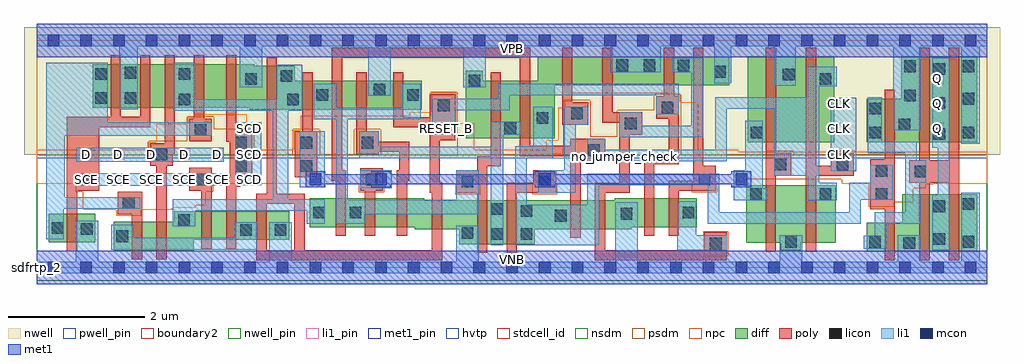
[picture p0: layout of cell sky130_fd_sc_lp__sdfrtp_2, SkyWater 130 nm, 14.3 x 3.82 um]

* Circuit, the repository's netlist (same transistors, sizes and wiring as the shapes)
* Copyright 2020 The SkyWater PDK Authors
*
* Licensed under the Apache License, Version 2.0 (the "License");
* you may not use this file except in compliance with the License.
* You may obtain a copy of the License at
*
*     https://www.apache.org/licenses/LICENSE-2.0
*
* Unless required by applicable law or agreed to in writing, software
* distributed under the License is distributed on an "AS IS" BASIS,
* WITHOUT WARRANTIES OR CONDITIONS OF ANY KIND, either express or implied.
* See the License for the specific language governing permissions and
* limitations under the License.
*
* SPDX-License-Identifier: Apache-2.0

.SUBCKT sky130_fd_sc_lp__sdfrtp_2 CLK D RESET_B SCD SCE VGND VNB VPB VPWR Q
*.PININFO CLK:I D:I RESET_B:I SCD:I SCE:I VGND:I VNB:I VPB:I VPWR:I
*.PININFO Q:O
MI642 clkneg CLK VGND VNB sky130_fd_pr__nfet_01v8 m=1 w=0.84U l=0.15U mult=1 sa=0.265
+ sb=0.265 sd=0.28 area=0.063 perim=1.14
MI636 clkpos clkneg VGND VNB sky130_fd_pr__nfet_01v8 m=1 w=0.84U l=0.15U mult=1
+ sa=0.265 sb=0.265 sd=0.28 area=0.063 perim=1.14
MI42 db clkneg M0 VNB sky130_fd_pr__nfet_01v8 m=1 w=0.42U l=0.15U mult=1 sa=0.265
+ sb=0.265 sd=0.28 area=0.063 perim=1.14
MI656 net062 s0 net048 VNB sky130_fd_pr__nfet_01v8 m=1 w=0.42U l=0.15U mult=1 sa=0.265
+ sb=0.265 sd=0.28 area=0.063 perim=1.14
MI657 net048 RESET_B VGND VNB sky130_fd_pr__nfet_01v8 m=1 w=0.42U l=0.15U mult=1
+ sa=0.265 sb=0.265 sd=0.28 area=0.063 perim=1.14
MI33 net069 RESET_B VGND VNB sky130_fd_pr__nfet_01v8 m=1 w=0.42U l=0.15U mult=1
+ sa=0.265 sb=0.265 sd=0.28 area=0.063 perim=1.14
MI634 sceb SCE VGND VNB sky130_fd_pr__nfet_01v8 m=1 w=0.42U l=0.15U mult=1 sa=0.265
+ sb=0.265 sd=0.28 area=0.063 perim=1.14
MI4 M0 clkpos net077 VNB sky130_fd_pr__nfet_01v8 m=1 w=0.42U l=0.15U mult=1 sa=0.265
+ sb=0.265 sd=0.28 area=0.063 perim=1.14
MI34 net077 M1 net069 VNB sky130_fd_pr__nfet_01v8 m=1 w=0.42U l=0.15U mult=1 sa=0.265
+ sb=0.265 sd=0.28 area=0.063 perim=1.14
MI655 s0 clkneg net061 VNB sky130_fd_pr__nfet_01v8 m=1 w=0.42U l=0.15U mult=1 sa=0.265
+ sb=0.265 sd=0.28 area=0.063 perim=1.14
MI652 net041 s0 VGND VNB sky130_fd_pr__nfet_01v8 m=1 w=0.42U l=0.15U mult=1 sa=0.265
+ sb=0.265 sd=0.28 area=0.063 perim=1.14
MI653 Q net041 VGND VNB sky130_fd_pr__nfet_01v8 m=2 w=0.84U l=0.15U mult=1 sa=0.265
+ sb=0.265 sd=0.28 area=0.063 perim=1.14
MI654 net061 net062 VGND VNB sky130_fd_pr__nfet_01v8 m=1 w=0.42U l=0.15U mult=1
+ sa=0.265 sb=0.265 sd=0.28 area=0.063 perim=1.14
MI647 M1 M0 VGND VNB sky130_fd_pr__nfet_01v8 m=1 w=0.64U l=0.15U mult=1 sa=0.265
+ sb=0.265 sd=0.28 area=0.063 perim=1.14
MI649 M1 clkpos s0 VNB sky130_fd_pr__nfet_01v8 m=1 w=0.64U l=0.15U mult=1 sa=0.265
+ sb=0.265 sd=0.28 area=0.063 perim=1.14
MI666 net84 RESET_B VGND VNB sky130_fd_pr__nfet_01v8 m=1 w=0.42U l=0.15U mult=1
+ sa=0.265 sb=0.265 sd=0.28 area=0.525 perim=3.1
MI98 db D n0 VNB sky130_fd_pr__nfet_01v8 m=1 w=0.42U l=0.15U mult=1 sa=0.265 sb=0.265
+ sd=0.28 area=0.525 perim=3.1
MI103 n1 SCD net84 VNB sky130_fd_pr__nfet_01v8 m=1 w=0.42U l=0.15U mult=1 sa=0.265
+ sb=0.265 sd=0.28 area=0.525 perim=3.1
MI120 db SCE n1 VNB sky130_fd_pr__nfet_01v8 m=1 w=0.42U l=0.15U mult=1 sa=0.265
+ sb=0.265 sd=0.28 area=0.525 perim=3.1
MI104 n0 sceb net84 VNB sky130_fd_pr__nfet_01v8 m=1 w=0.42U l=0.15U mult=1 sa=0.265
+ sb=0.265 sd=0.28 area=0.525 perim=3.1
MI643 clkneg CLK VPWR VPB sky130_fd_pr__pfet_01v8_hvt m=1 w=1.26U l=0.15U mult=1
+ sa=0.265 sb=0.265 sd=0.28 area=0.063 perim=1.14
MI635 clkpos clkneg VPWR VPB sky130_fd_pr__pfet_01v8_hvt m=1 w=1.26U l=0.15U mult=1
+ sa=0.265 sb=0.265 sd=0.28 area=0.063 perim=1.14
MI43 db clkpos M0 VPB sky130_fd_pr__pfet_01v8_hvt m=1 w=0.42U l=0.15U mult=1 sa=0.265
+ sb=0.265 sd=0.28 area=0.063 perim=1.14
MI662 net0133 net062 VPWR VPB sky130_fd_pr__pfet_01v8_hvt m=1 w=0.42U l=0.15U mult=1
+ sa=0.265 sb=0.265 sd=0.28 area=0.063 perim=1.14
MI659 net062 RESET_B VPWR VPB sky130_fd_pr__pfet_01v8_hvt m=1 w=0.42U l=0.15U mult=1
+ sa=0.265 sb=0.265 sd=0.28 area=0.063 perim=1.14
MI664 s0 clkpos net0133 VPB sky130_fd_pr__pfet_01v8_hvt m=1 w=0.42U l=0.15U mult=1
+ sa=0.265 sb=0.265 sd=0.28 area=0.063 perim=1.14
MI658 net062 s0 VPWR VPB sky130_fd_pr__pfet_01v8_hvt m=1 w=0.42U l=0.15U mult=1
+ sa=0.265 sb=0.265 sd=0.28 area=0.063 perim=1.14
MI30 net0156 M1 VPWR VPB sky130_fd_pr__pfet_01v8_hvt m=1 w=0.42U l=0.15U mult=1
+ sa=0.265 sb=0.265 sd=0.28 area=0.063 perim=1.14
MI31 M0 clkneg net0156 VPB sky130_fd_pr__pfet_01v8_hvt m=1 w=0.42U l=0.15U mult=1
+ sa=0.265 sb=0.265 sd=0.28 area=0.063 perim=1.14
MI32 M0 RESET_B VPWR VPB sky130_fd_pr__pfet_01v8_hvt m=1 w=0.42U l=0.15U mult=1
+ sa=0.265 sb=0.265 sd=0.28 area=0.063 perim=1.14
MI663 net041 s0 VPWR VPB sky130_fd_pr__pfet_01v8_hvt m=1 w=0.64U l=0.15U mult=1
+ sa=0.265 sb=0.265 sd=0.28 area=0.063 perim=1.14
MI660 Q net041 VPWR VPB sky130_fd_pr__pfet_01v8_hvt m=2 w=1.26U l=0.15U mult=1
+ sa=0.265 sb=0.265 sd=0.28 area=0.063 perim=1.14
MI648 M1 M0 VPWR VPB sky130_fd_pr__pfet_01v8_hvt m=1 w=0.84U l=0.15U mult=1 sa=0.265
+ sb=0.265 sd=0.28 area=0.063 perim=1.14
MI650 M1 clkneg s0 VPB sky130_fd_pr__pfet_01v8_hvt m=1 w=0.84U l=0.15U mult=1 sa=0.265
+ sb=0.265 sd=0.28 area=0.063 perim=1.14
MI633 sceb SCE VPWR VPB sky130_fd_pr__pfet_01v8_hvt m=1 w=0.64U l=0.15U mult=1
+ sa=0.265 sb=0.265 sd=0.28 area=0.063 perim=1.14
MI101 db sceb p1 VPB sky130_fd_pr__pfet_01v8_hvt m=1 w=0.64U l=0.15U mult=1 sa=0.265
+ sb=0.265 sd=0.28 area=0.063 perim=1.14
MI107 p0 SCE VPWR VPB sky130_fd_pr__pfet_01v8_hvt m=1 w=0.64U l=0.15U mult=1 sa=0.265
+ sb=0.265 sd=0.28 area=0.063 perim=1.14
MI94 db D p0 VPB sky130_fd_pr__pfet_01v8_hvt m=1 w=0.64U l=0.15U mult=1 sa=0.265
+ sb=0.265 sd=0.28 area=0.063 perim=1.14
MI108 p1 SCD VPWR VPB sky130_fd_pr__pfet_01v8_hvt m=1 w=0.64U l=0.15U mult=1 sa=0.265
+ sb=0.265 sd=0.28 area=0.063 perim=1.14
MI665 db RESET_B VPWR VPB sky130_fd_pr__pfet_01v8_hvt m=1 w=0.64U l=0.15U mult=1
+ sa=0.265 sb=0.265 sd=0.28 area=0.063 perim=1.14
.ENDS sky130_fd_sc_lp__sdfrtp_2

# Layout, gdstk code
import gdstk
lib = gdstk.Library(unit=1e-6, precision=1e-09)
def R(c, l, rs):  # rectangles x0, y0, x1, y1
    for r in rs: c.add(gdstk.rectangle(r[:2], r[2:], *l))
def A(c, l, x, y, w, h, nx, ny, dx, dy):  # array of equal rectangles
    R(c, l, [(x+i*dx, y+j*dy, x+i*dx+w, y+j*dy+h) for i in range(nx) for j in range(ny)])
def P(c, l, *ps):  # polygons
    for p in ps: c.add(gdstk.Polygon(p, *l))
nwell_pin = (64, 16)
nwell = (64, 20)
diff = (65, 20)
poly = (66, 20)
licon = (66, 44)
li1_pin = (67, 16)
li1 = (67, 20)
mcon = (67, 44)
met1_pin = (68, 16)
met1 = (68, 20)
hvtp = (78, 44)
stdcell_id = (81, 4)
nsdm = (93, 44)
psdm = (94, 20)
npc = (95, 20)
pwell_pin = (122, 16)
boundary2 = (236, 0)

sky130_fd_sc_lp__sdfrtp_ = lib.new_cell('sky130_fd_sc_lp__sdfrtp_2')
R(sky130_fd_sc_lp__sdfrtp_, nwell_pin, [(0,3.085,13.92,3.33)])
R(sky130_fd_sc_lp__sdfrtp_, nwell, [(-0.19,1.655,14.11,3.52)])
R(sky130_fd_sc_lp__sdfrtp_, diff, [(0.175,0.37,0.855,0.79), (10.415,1.835,11.68,3.095)])
P(sky130_fd_sc_lp__sdfrtp_, diff, [(3.695,0.825),(2.01,0.825),(2.01,0.67),(1.125,0.67),(1.125,0.25),(2.3,0.25),(2.3,0.405),(3.695,0.405)],
  [(5.635,2.735),(3.78,2.735),(3.78,2.955),(3.185,2.955),(3.185,2.98),(0.815,2.98),(0.815,2.34),(3.115,2.34),(3.115,2.315),(5.635,2.315)],
  [(9.67,1.015),(8.465,1.015),(8.465,0.985),(5.675,0.985),(5.675,1.015),(3.995,1.015),(3.995,0.595),(5.535,0.595),(5.535,0.565),(6.185,0.565),(6.185,0.345),(7.295,0.345),(7.295,0.565),(8.715,0.565),(8.715,0.595),(9.67,0.595)],
  [(10.145,3.09),(7.335,3.09),(7.335,2.735),(6.535,2.735),(6.535,2.885),(6.285,2.885),(6.285,1.895),(7.585,1.895),(7.585,2.67),(10.145,2.67)],
  [(11.7,1.205),(10.39,1.205),(10.39,0.365),(10.9,0.365),(10.9,0.255),(11.19,0.255),(11.19,0.365),(11.7,0.365)],
  [(13.775,3.095),(12.665,3.095),(12.665,2.475),(12.155,2.475),(12.155,1.835),(13.775,1.835)],
  [(13.775,1.075),(12.68,1.075),(12.68,0.655),(12.155,0.655),(12.155,0.235),(13.775,0.235)])
P(sky130_fd_sc_lp__sdfrtp_, poly, [(1.54,1.11),(1.18,1.11),(1.18,0.78),(1.39,0.78),(1.39,0.12),(1.54,0.12)],
  [(1.66,3.11),(1.51,3.11),(1.51,2.21),(1.23,2.21),(1.23,3.11),(1.08,3.11),(1.08,2.21),(0.44,2.21),(0.44,0.24),(0.59,0.24),(0.59,1.13),(0.915,1.13),(0.915,2.06),(1.66,2.06)],
  [(2.02,3.11),(1.87,3.11),(1.87,1.82),(1.66,1.82),(1.66,1.49),(1.75,1.49),(1.75,0.12),(1.9,0.12),(1.9,1.49),(1.99,1.49),(1.99,1.67),(2.02,1.67)],
  [(2.56,2.18),(2.45,2.18),(2.45,3.11),(2.3,3.11),(2.3,2.18),(2.23,2.18),(2.23,1.85),(2.56,1.85)],
  [(2.56,1.46),(2.23,1.46),(2.23,1.13),(2.41,1.13),(2.41,0.275),(2.56,0.275)],
  [(3.155,1.995),(2.92,1.995),(2.92,3.11),(2.77,3.11),(2.77,1.845),(2.825,1.845),(2.825,1.335),(2.77,1.335),(2.77,0.275),(2.92,0.275),(2.92,1.185),(2.975,1.185),(2.975,1.325),(3.155,1.325)],
  [(4.11,1.995),(4.04,1.995),(4.04,2.865),(3.89,2.865),(3.89,1.995),(3.78,1.995),(3.78,1.325),(4.11,1.325)],
  [(5.065,1.455),(4.735,1.455),(4.735,1.125),(4.805,1.125),(4.805,0.465),(4.955,0.465),(4.955,1.125),(5.065,1.125)],
  [(5.455,1.845),(5.01,1.845),(5.01,1.995),(4.83,1.995),(4.83,2.865),(4.68,2.865),(4.68,1.665),(5.01,1.665),(5.01,1.695),(5.305,1.695),(5.305,1.425),(5.275,1.425),(5.275,0.465),(5.425,0.465),(5.425,1.275),(5.455,1.275)],
  [(6.125,2.54),(5.755,2.54),(5.755,2.205),(5.37,2.205),(5.37,2.865),(5.22,2.865),(5.22,2.055),(5.755,2.055),(5.755,1.095),(5.785,1.095),(5.785,0.255),(3.92,0.255),(3.92,1.085),(3.77,1.085),(3.77,0.255),(3.365,0.255),(3.365,0.935),(3.77,0.935),(3.77,1.085),(3.515,1.085),(3.515,3.085),(3.365,3.085),(3.365,1.085),(3.215,1.085),(3.215,0.105),(5.935,0.105),(5.935,1.245),(5.905,1.245),(5.905,1.87),(6.125,1.87)],
  [(6.795,2.865),(6.645,2.865),(6.645,1.635),(6.45,1.635),(6.45,1.425),(6.145,1.425),(6.145,1.095),(6.45,1.095),(6.45,0.215),(6.6,0.215),(6.6,1.485),(6.795,1.485)],
  [(7.605,1.425),(7.275,1.425),(7.275,1.245),(6.88,1.245),(6.88,0.215),(7.03,0.215),(7.03,1.095),(7.605,1.095)],
  [(8.075,2.425),(7.845,2.425),(7.845,3.22),(7.695,3.22),(7.695,2.095),(8.075,2.095)],
  [(8.325,1.885),(7.815,1.885),(7.815,1.785),(7.225,1.785),(7.225,3.225),(4.32,3.225),(4.32,1.275),(4.375,1.275),(4.375,0.465),(4.525,0.465),(4.525,1.425),(4.47,1.425),(4.47,3.075),(7.075,3.075),(7.075,1.635),(7.815,1.635),(7.815,0.435),(7.965,0.435),(7.965,1.555),(8.325,1.555)],
  [(9.405,2.51),(9.335,2.51),(9.335,3.22),(9.185,3.22),(9.185,2.51),(9.075,2.51),(9.075,2.18),(9.255,2.18),(9.255,1.665),(8.895,1.665),(8.895,0.465),(9.045,0.465),(9.045,1.515),(9.405,1.515)],
  [(9.945,1.495),(9.765,1.495),(9.765,3.22),(9.615,3.22),(9.615,1.275),(9.255,1.275),(9.255,0.465),(9.405,0.465),(9.405,1.125),(9.945,1.125)],
  [(10.11,0.515),(9.78,0.515),(9.78,0.255),(8.325,0.255),(8.325,1.095),(8.685,1.095),(8.685,1.945),(8.865,1.945),(8.865,2.275),(8.435,2.275),(8.435,3.22),(8.285,3.22),(8.285,2.125),(8.535,2.125),(8.535,1.245),(8.175,1.245),(8.175,0.105),(10.11,0.105)],
  [(11.055,1.675),(10.83,1.675),(10.83,3.225),(10.68,3.225),(10.68,1.675),(10.675,1.675),(10.675,0.235),(10.825,0.235),(10.825,1.345),(11.055,1.345)],
  [(11.97,1.675),(11.64,1.675),(11.64,1.495),(11.415,1.495),(11.415,3.225),(11.265,3.225),(11.265,0.235),(11.415,0.235),(11.415,1.345),(11.97,1.345)],
  [(12.57,2.605),(12.42,2.605),(12.42,1.585),(12.21,1.585),(12.21,0.855),(12.42,0.855),(12.42,0.105),(12.57,0.105)],
  [(13.51,3.225),(13.36,3.225),(13.36,1.575),(13.08,1.575),(13.08,3.225),(12.93,3.225),(12.93,1.575),(12.78,1.575),(12.78,1.245),(12.93,1.245),(12.93,0.105),(13.08,0.105),(13.08,1.245),(13.36,1.245),(13.36,0.105),(13.51,0.105)])
R(sky130_fd_sc_lp__sdfrtp_, licon, [(9.86,0.265,10.03,0.435), (12.695,0.275,12.865,0.445), (10.96,0.295,11.13,0.465), (12.195,0.295,12.365,0.465), (13.565,0.295,13.735,0.465), (13.135,0.335,13.305,0.505), (1.165,0.375,1.335,0.545), (6.655,0.405,6.825,0.575), (7.085,0.405,7.255,0.575), (6.225,0.425,6.395,0.595), (2.975,0.465,3.145,0.635), (3.485,0.465,3.655,0.635), (0.645,0.48,0.815,0.65), (0.215,0.495,0.385,0.665), (2.07,0.615,2.24,0.785), (7.59,0.675,7.76,0.845), (8.55,0.705,8.72,0.875), (4.045,0.72,4.215,0.89), (4.58,0.72,4.75,0.89), (9.46,0.72,9.63,0.89), (7.085,0.745,7.255,0.915), (6.655,0.775,6.825,0.945), (13.135,0.815,13.305,0.985), (13.565,0.845,13.735,1.015), (1.26,0.86,1.43,1.03), (10.45,0.995,10.62,1.165), (11.47,0.995,11.64,1.165), (12.29,0.995,12.46,1.165), (6.225,1.175,6.395,1.345), (7.355,1.175,7.525,1.345), (4.815,1.205,4.985,1.375), (9.695,1.205,9.865,1.375), (0.665,1.21,0.835,1.38), (2.31,1.21,2.48,1.38), (12.86,1.325,13.03,1.495), (12.29,1.335,12.46,1.505), (2.905,1.405,3.075,1.575), (3.86,1.405,4.03,1.575), (10.805,1.425,10.975,1.595), (11.72,1.425,11.89,1.595), (1.74,1.57,1.91,1.74), (8.075,1.635,8.245,1.805), (2.905,1.745,3.075,1.915), (3.86,1.745,4.03,1.915), (4.76,1.745,4.93,1.915), (13.135,1.875,13.305,2.045), (10.455,1.895,10.625,2.065), (12.195,1.895,12.365,2.065), (13.565,1.895,13.735,2.065), (2.31,1.93,2.48,2.1), (5.875,1.95,6.045,2.12), (6.85,1.955,7.02,2.125), (12.625,2.015,12.795,2.185), (8.615,2.025,8.785,2.195), (7.32,2.105,7.49,2.275), (7.825,2.175,7.995,2.345), (12.195,2.245,12.365,2.415), (9.155,2.26,9.325,2.43), (5.875,2.29,6.045,2.46), (13.135,2.33,13.305,2.5), (2.075,2.38,2.245,2.55), (3.665,2.38,3.835,2.55), (13.565,2.39,13.735,2.56), (0.855,2.4,1.025,2.57), (1.285,2.4,1.455,2.57), (12.705,2.44,12.875,2.61), (4.095,2.445,4.265,2.615), (5.425,2.445,5.595,2.615), (4.935,2.525,5.105,2.695), (6.325,2.655,6.495,2.825), (3.05,2.68,3.22,2.85), (11.47,2.68,11.64,2.85), (3.57,2.72,3.74,2.89), (10.93,2.745,11.1,2.915), (0.855,2.75,1.025,2.92), (2.075,2.75,2.245,2.92), (1.285,2.77,1.455,2.94), (9.925,2.785,10.095,2.955), (13.135,2.825,13.305,2.995), (12.705,2.865,12.875,3.035), (13.565,2.865,13.735,3.035), (9.39,2.875,9.56,3.045), (8.49,2.88,8.66,3.05), (8.89,2.88,9.06,3.05)])
A(sky130_fd_sc_lp__sdfrtp_, li1_pin, 0.635, 1.21, 0.17, 0.17, 6, 2, 0.48, 0.37)
A(sky130_fd_sc_lp__sdfrtp_, li1_pin, 11.675, 1.58, 0.17, 0.17, 1, 3, 0, 0.37)
A(sky130_fd_sc_lp__sdfrtp_, li1_pin, 13.115, 1.95, 0.17, 0.17, 1, 3, 0, 0.37)
R(sky130_fd_sc_lp__sdfrtp_, li1_pin, [(3.035,1.95,3.205,2.12), (5.915,1.95,6.085,2.12)])
R(sky130_fd_sc_lp__sdfrtp_, li1, [(4.735,1.165,5.2,1.43), (3.85,1.175,4.215,1.995), (0.575,1.2,2.735,1.38), (2.905,1.21,3.285,2.13), (11.63,1.415,12.005,2.49), (0.575,1.55,2.735,1.76)])
P(sky130_fd_sc_lp__sdfrtp_, li1, [(3.955,0.64),(3.955,0.835),(2.32,0.835),(2.32,0.605),(1.99,0.605),(1.99,1.005),(3.455,1.005),(3.455,2.3),(1.995,2.3),(1.995,3),(2.325,3),(2.325,2.47),(3.51,2.47),(3.51,2.97),(3.885,2.97),(3.885,2.3),(3.68,2.3),(3.68,1.005),(4.215,1.005),(4.215,0.64)],
  [(9.38,0.97),(9.66,0.97),(9.66,0.475),(10.11,0.475),(10.11,0.255),(9.38,0.255)],
  [(5.795,1.95),(5.795,2.475),(6.755,2.475),(6.755,2.695),(9.405,2.695),(9.405,2.25),(9.075,2.25),(9.075,2.525),(6.925,2.525),(6.925,2.305),(6.125,2.305),(6.125,1.95)],
  [(1.035,2.13),(2.56,2.13),(2.56,1.93),(0.405,1.93),(0.405,1.03),(1.51,1.03),(1.51,0.86),(0.395,0.86),(0.395,0.415),(0.135,0.415),(0.135,3),(1.035,3)],
  [(6.245,2.645),(6.245,3.245),(5.185,3.245),(5.185,2.515),(4.855,2.515),(4.855,3.245),(3.3,3.245),(3.3,2.64),(2.97,2.64),(2.97,3.245),(1.475,3.245),(1.475,2.32),(1.205,2.32),(1.205,3.245),(0,3.245),(0,3.415),(13.92,3.415),(13.92,3.245),(13.815,3.245),(13.815,1.815),(13.545,1.815),(13.545,3.245),(12.945,3.245),(12.945,2.015),(12.545,2.015),(12.545,3.245),(11.12,3.245),(11.12,2.665),(10.805,2.665),(10.805,3.245),(10.175,3.245),(10.175,2.705),(9.925,2.705),(9.925,3.245),(9.14,3.245),(9.14,2.865),(8.41,2.865),(8.41,3.245),(6.575,3.245),(6.575,2.645)],
  [(8.47,0.085),(8.47,0.955),(8.8,0.955),(8.8,0.085),(10.88,0.085),(10.88,0.475),(11.21,0.475),(11.21,0.085),(12.615,0.085),(12.615,0.475),(12.945,0.475),(12.945,0.085),(13.545,0.085),(13.545,1.095),(13.815,1.095),(13.815,0.085),(13.92,0.085),(13.92,-0.085),(0,-0.085),(0,0.085),(0.565,0.085),(0.565,0.69),(0.895,0.69),(0.895,0.085),(3.405,0.085),(3.405,0.665),(3.735,0.665),(3.735,0.085),(6.145,0.085),(6.145,0.615),(6.475,0.615),(6.475,0.085)],
  [(8.235,0.325),(7.005,0.325),(7.005,1.775),(7.27,1.775),(7.27,2.355),(7.555,2.355),(7.555,1.605),(7.175,1.605),(7.175,0.925),(8.065,0.925),(8.065,1.375),(10,1.375),(10,0.815),(11.9,0.815),(11.9,1.245),(12.21,1.245),(12.21,1.505),(12.54,1.505),(12.54,0.995),(12.07,0.995),(12.07,0.645),(9.83,0.645),(9.83,1.205),(8.235,1.205)],
  [(13.115,1.755),(13.115,3.075),(13.375,3.075),(13.375,0.255),(13.115,0.255),(13.115,1.065),(13.2,1.065),(13.2,1.755)],
  [(12.375,1.845),(12.89,1.845),(12.89,1.575),(13.03,1.575),(13.03,1.245),(12.945,1.245),(12.945,0.645),(12.445,0.645),(12.445,0.275),(12.115,0.275),(12.115,0.465),(12.275,0.465),(12.275,0.815),(12.72,0.815),(12.72,1.675),(12.175,1.675),(12.175,2.495),(12.375,2.495)],
  [(7.345,1.095),(7.345,1.425),(7.725,1.425),(7.725,2.355),(8.075,2.355),(8.075,2.095),(7.895,2.095),(7.895,1.095)],
  [(10.21,0.985),(10.21,1.425),(10.375,1.425),(10.375,2.155),(10.635,2.155),(10.635,1.165),(10.7,1.165),(10.7,0.985)],
  [(8.865,2.08),(9.585,2.08),(9.585,2.865),(9.31,2.865),(9.31,3.075),(9.755,3.075),(9.755,1.91),(8.535,1.91),(8.535,2.275),(8.865,2.275)],
  [(11.29,2.495),(11.29,2.94),(11.72,2.94),(11.72,2.66),(11.46,2.66),(11.46,1.245),(11.72,1.245),(11.72,0.985),(11.29,0.985),(11.29,1.345),(10.805,1.345),(10.805,2.325),(10.105,2.325),(10.105,1.56),(8.245,1.56),(8.245,1.555),(8.065,1.555),(8.065,1.885),(8.325,1.885),(8.325,1.73),(9.935,1.73),(9.935,2.495)],
  [(6.655,1.77),(6.655,2.135),(7.1,2.135),(7.1,1.945),(6.835,1.945),(6.835,0.325),(6.645,0.325),(6.645,1.6),(4.725,1.6),(4.725,1.995),(5.01,1.995),(5.01,1.77)],
  [(2.895,0.435),(2.895,0.665),(3.225,0.665),(3.225,0.265),(1.085,0.265),(1.085,0.625),(1.415,0.625),(1.415,0.435)],
  [(6.475,1.43),(6.145,1.43),(6.145,0.995),(4.555,0.995),(4.555,2.175),(5.625,2.175),(5.625,2.695),(5.355,2.695),(5.355,2.345),(4.385,2.345),(4.385,2.695),(4.055,2.695),(4.055,2.175),(4.385,2.175),(4.385,0.64),(4.8,0.64),(4.8,0.785),(6.475,0.785)])
A(sky130_fd_sc_lp__sdfrtp_, mcon, 0.155, -0.085, 0.17, 0.17, 29, 2, 0.48, 3.33)
R(sky130_fd_sc_lp__sdfrtp_, mcon, [(3.995,1.21,4.165,1.38), (4.955,1.21,5.125,1.38), (7.355,1.21,7.525,1.38), (10.235,1.21,10.405,1.38)])
R(sky130_fd_sc_lp__sdfrtp_, met1_pin, [(0,0,13.92,0.245), (0,3.085,13.92,3.33)])
R(sky130_fd_sc_lp__sdfrtp_, met1, [(0,-0.245,13.92,0.245), (0,3.085,13.92,3.575)])
P(sky130_fd_sc_lp__sdfrtp_, met1, [(4.225,1.365),(4.895,1.365),(4.895,1.41),(5.185,1.41),(5.185,1.365),(7.295,1.365),(7.295,1.41),(7.585,1.41),(7.585,1.365),(10.175,1.365),(10.175,1.41),(10.465,1.41),(10.465,1.18),(10.175,1.18),(10.175,1.225),(7.585,1.225),(7.585,1.18),(7.295,1.18),(7.295,1.225),(5.185,1.225),(5.185,1.18),(4.895,1.18),(4.895,1.225),(4.225,1.225),(4.225,1.18),(3.935,1.18),(3.935,1.41),(4.225,1.41)])
R(sky130_fd_sc_lp__sdfrtp_, hvtp, [(0,1.6,13.92,3.33)])
R(sky130_fd_sc_lp__sdfrtp_, stdcell_id, [(0,0,13.92,3.33)])
R(sky130_fd_sc_lp__sdfrtp_, nsdm, [(0,-0.19,13.92,1.655)])
P(sky130_fd_sc_lp__sdfrtp_, psdm, [(13.92,3.52),(0,3.52),(0,1.655),(1.63,1.655),(1.63,1.85),(2.2,1.85),(2.2,2.21),(2.59,2.21),(2.59,2.025),(3.185,2.025),(3.185,1.655),(3.75,1.655),(3.75,2.025),(4.14,2.025),(4.14,1.655),(4.65,1.655),(4.65,2.025),(5.04,2.025),(5.04,1.655),(5.765,1.655),(5.765,2.57),(6.155,2.57),(6.155,1.655),(7.715,1.655),(7.715,2.455),(8.105,2.455),(8.105,1.915),(8.505,1.915),(8.505,2.305),(9.045,2.305),(9.045,2.54),(9.435,2.54),(9.435,1.655),(10.695,1.655),(10.695,1.705),(11.085,1.705),(11.085,1.655),(11.61,1.655),(11.61,1.705),(12,1.705),(12,1.655),(13.92,1.655)])
R(sky130_fd_sc_lp__sdfrtp_, npc, [(9.76,0.165,10.13,0.535)])
P(sky130_fd_sc_lp__sdfrtp_, npc, [(13.92,1.695),(10.275,1.695),(10.275,1.73),(9.69,1.73),(9.69,2.425),(9.425,2.425),(9.425,2.53),(9.32,2.53),(9.32,2.56),(7.83,2.56),(7.83,2.445),(7.725,2.445),(7.725,2.34),(7.635,2.34),(7.635,1.865),(7.46,1.865),(7.46,1.73),(6.41,1.73),(6.41,2.115),(6.145,2.115),(6.145,2.56),(5.775,2.56),(5.775,2.28),(5.46,2.28),(5.46,2.225),(3.865,2.225),(3.865,2.015),(3.76,2.015),(3.76,1.73),(3.175,1.73),(3.175,2.015),(3.07,2.015),(3.07,2.25),(2.315,2.25),(2.315,2.2),(2.21,2.2),(2.21,2.105),(1.745,2.105),(1.745,1.84),(1.64,1.84),(1.64,1.73),(0,1.73),(0,1.23),(0.565,1.23),(0.565,1.11),(0.67,1.11),(0.67,0.88),(0.68,0.88),(0.68,0.845),(1.16,0.845),(1.16,0.76),(1.53,0.76),(1.53,0.845),(1.98,0.845),(1.98,0.875),(2.32,0.875),(2.32,0.915),(2.475,0.915),(2.475,1.11),(2.58,1.11),(2.58,1.23),(4.715,1.23),(4.715,1.105),(5.085,1.105),(5.085,1.23),(6.125,1.23),(6.125,1.075),(6.495,1.075),(6.495,1.23),(7.255,1.23),(7.255,1.075),(7.625,1.075),(7.625,1.23),(9.595,1.23),(9.595,1.105),(9.965,1.105),(9.965,1.23),(10.3,1.23),(10.3,1.295),(11.79,1.295),(11.79,1.23),(12.19,1.23),(12.19,0.895),(12.56,0.895),(12.56,0.96),(12.84,0.96),(12.84,1.165),(13.025,1.165),(13.025,1.225),(13.13,1.225),(13.13,1.23),(13.92,1.23)])
R(sky130_fd_sc_lp__sdfrtp_, pwell_pin, [(0,0,13.92,0.245)])
R(sky130_fd_sc_lp__sdfrtp_, boundary2, [(0,0,13.92,3.33)])
sky130_fd_sc_lp__sdfrtp_.add(gdstk.Label('VNB', (6.96,0.123), layer=64, texttype=59))
sky130_fd_sc_lp__sdfrtp_.add(gdstk.Label('VPB', (6.96,3.208), layer=64, texttype=5))
sky130_fd_sc_lp__sdfrtp_.add(gdstk.Label('sdfrtp_2', (0,0), layer=83, texttype=44))
sky130_fd_sc_lp__sdfrtp_.add(gdstk.Label('no_jumper_check', (8.61,1.63), layer=83, texttype=44))
sky130_fd_sc_lp__sdfrtp_.add(gdstk.Label('VGND', (6.96,0.123), layer=68, texttype=5))
sky130_fd_sc_lp__sdfrtp_.add(gdstk.Label('VPWR', (6.96,3.208), layer=68, texttype=5))
sky130_fd_sc_lp__sdfrtp_.add(gdstk.Label('SCE', (0.72,1.295), layer=67, texttype=5))
sky130_fd_sc_lp__sdfrtp_.add(gdstk.Label('SCE', (1.2,1.295), layer=67, texttype=5))
sky130_fd_sc_lp__sdfrtp_.add(gdstk.Label('SCE', (1.68,1.295), layer=67, texttype=5))
sky130_fd_sc_lp__sdfrtp_.add(gdstk.Label('SCE', (2.16,1.295), layer=67, texttype=5))
sky130_fd_sc_lp__sdfrtp_.add(gdstk.Label('SCE', (2.64,1.295), layer=67, texttype=5))
sky130_fd_sc_lp__sdfrtp_.add(gdstk.Label('RESET_B', (6,2.035), layer=67, texttype=5))
sky130_fd_sc_lp__sdfrtp_.add(gdstk.Label('CLK', (11.76,1.665), layer=67, texttype=5))
sky130_fd_sc_lp__sdfrtp_.add(gdstk.Label('CLK', (11.76,2.035), layer=67, texttype=5))
sky130_fd_sc_lp__sdfrtp_.add(gdstk.Label('CLK', (11.76,2.405), layer=67, texttype=5))
sky130_fd_sc_lp__sdfrtp_.add(gdstk.Label('SCD', (3.12,1.295), layer=67, texttype=5))
sky130_fd_sc_lp__sdfrtp_.add(gdstk.Label('SCD', (3.12,1.665), layer=67, texttype=5))
sky130_fd_sc_lp__sdfrtp_.add(gdstk.Label('SCD', (3.12,2.035), layer=67, texttype=5))
sky130_fd_sc_lp__sdfrtp_.add(gdstk.Label('D', (0.72,1.665), layer=67, texttype=5))
sky130_fd_sc_lp__sdfrtp_.add(gdstk.Label('D', (1.2,1.665), layer=67, texttype=5))
sky130_fd_sc_lp__sdfrtp_.add(gdstk.Label('D', (1.68,1.665), layer=67, texttype=5))
sky130_fd_sc_lp__sdfrtp_.add(gdstk.Label('D', (2.16,1.665), layer=67, texttype=5))
sky130_fd_sc_lp__sdfrtp_.add(gdstk.Label('D', (2.64,1.665), layer=67, texttype=5))
sky130_fd_sc_lp__sdfrtp_.add(gdstk.Label('Q', (13.2,2.035), layer=67, texttype=5))
sky130_fd_sc_lp__sdfrtp_.add(gdstk.Label('Q', (13.2,2.405), layer=67, texttype=5))
sky130_fd_sc_lp__sdfrtp_.add(gdstk.Label('Q', (13.2,2.775), layer=67, texttype=5))

lib.write_gds('sky130_fd_sc_lp__sdfrtp_2.gds')
